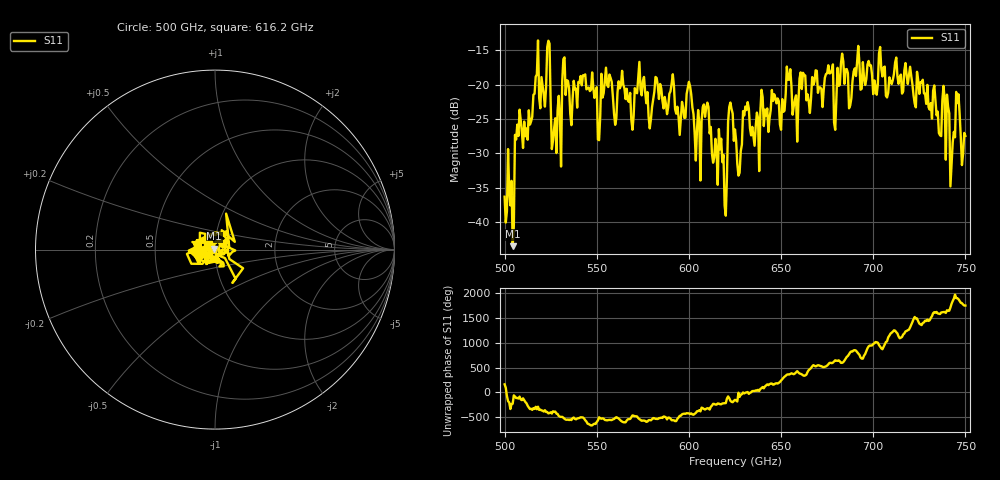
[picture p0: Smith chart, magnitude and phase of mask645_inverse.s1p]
!Created with skrf (http://scikit-rf.org).
# GHz S MA R 50.0
!freq magS11 angS11
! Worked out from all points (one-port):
!   401 points, 500 GHz to 750 GHz, reference 50 ohm
!   lowest |S11| = -43.5 dB at 504.4 GHz (marker M1), VSWR 1.01, Z = 49.6 + j0.493 ohm
!   |S11| at or under -10 dB: start of sweep to end of sweep
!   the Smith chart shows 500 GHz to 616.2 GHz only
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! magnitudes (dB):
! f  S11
! 500 GHz  -36.3
! 504.4 GHz  -43.5
! 506.9 GHz  -25.8
! 513.8 GHz  -25.8
! 516.9 GHz  -18.8
! 523.8 GHz  -13.6
! 526.9 GHz  -26.4
! 531.2 GHz  -19.5
! 562.5 GHz  -20.5
! 579.4 GHz  -25.0
! 590.6 GHz  -19.8
! 593.8 GHz  -23.2
! 600 GHz  -19.6
! 605 GHz  -23.7
! 609.4 GHz  -23.4
! 619.4 GHz  -37.6
! 622.5 GHz  -22.6
! 625 GHz  -26.5
! 656.2 GHz  -24.4
! 680 GHz  -22.2
! 683.8 GHz  -16.6
! 687.5 GHz  -23.0
! 691.2 GHz  -16.7
! 718.8 GHz  -19.9
! 739.4 GHz  -30.9
! 743.1 GHz  -28.4
! 745.6 GHz  -22.7
! 750 GHz  -27.5
